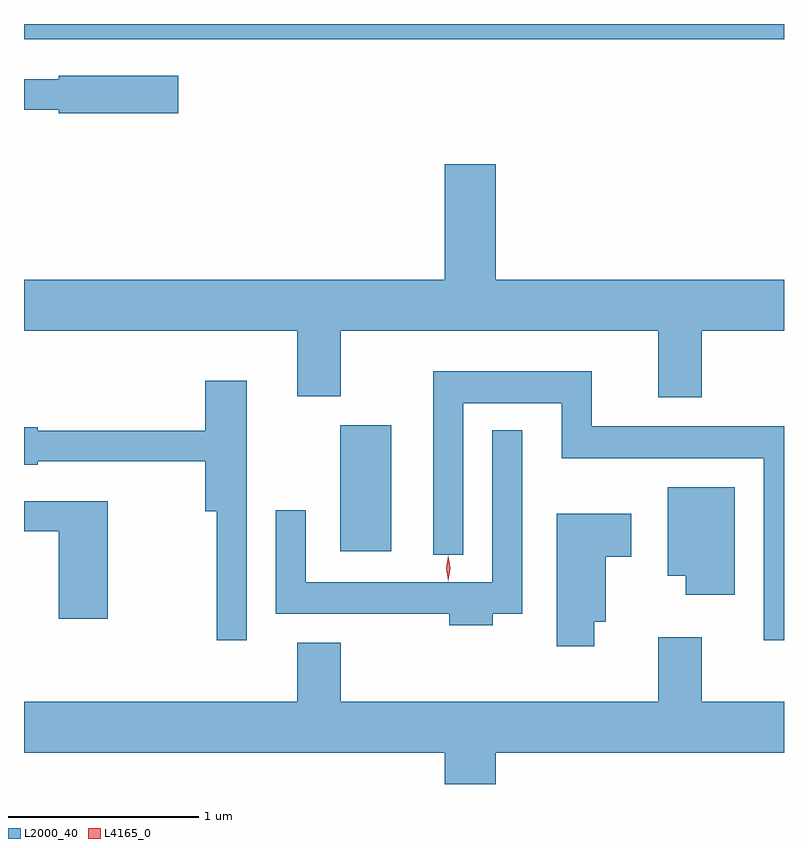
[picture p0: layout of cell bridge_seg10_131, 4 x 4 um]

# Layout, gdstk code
import gdstk
lib = gdstk.Library(unit=1e-6, precision=1e-09)
def R(c, l, rs):  # rectangles x0, y0, x1, y1
    for r in rs: c.add(gdstk.rectangle(r[:2], r[2:], *l))
def P(c, l, *ps):  # polygons
    for p in ps: c.add(gdstk.Polygon(p, *l))
L2000_40 = (2000, 40)
L4165_0 = (4165, 0)

bridge_seg10_131 = lib.new_cell('bridge_seg10_131')
R(bridge_seg10_131, L2000_40, [(1633.106,2099.436,1633.374,2100.099), (1631.442,2102.131,1635.442,2102.211)])
P(bridge_seg10_131, L2000_40, [(1632.254,2101.939),(1631.626,2101.939),(1631.626,2101.919),(1631.442,2101.919),(1631.442,2101.761),(1631.626,2101.761),(1631.626,2101.741),(1632.254,2101.741)],
  [(1635.009,2100.596),(1635.442,2100.596),(1635.442,2100.864),(1633.924,2100.864),(1633.924,2101.474),(1633.656,2101.474),(1633.656,2100.864),(1631.442,2100.864),(1631.442,2100.596),(1632.881,2100.596),(1632.881,2100.251),(1633.109,2100.251),(1633.109,2100.596),(1634.781,2100.596),(1634.781,2100.246),(1635.009,2100.246)],
  [(1635.442,2100.094),(1634.429,2100.094),(1634.429,2100.384),(1633.596,2100.384),(1633.596,2099.418),(1633.754,2099.418),(1633.754,2100.216),(1634.271,2100.216),(1634.271,2099.926),(1635.336,2099.926),(1635.336,2098.968),(1635.442,2098.968)],
  [(1632.614,2100.334),(1632.396,2100.334),(1632.396,2100.069),(1631.514,2100.069),(1631.514,2100.089),(1631.442,2100.089),(1631.442,2099.891),(1631.514,2099.891),(1631.514,2099.911),(1632.396,2099.911),(1632.396,2099.646),(1632.456,2099.646),(1632.456,2098.968),(1632.614,2098.968)],
  [(1633.909,2099.106),(1634.064,2099.106),(1634.064,2100.073),(1633.906,2100.073),(1633.906,2099.274),(1632.924,2099.274),(1632.924,2099.653),(1632.766,2099.653),(1632.766,2099.106),(1633.681,2099.106),(1633.681,2099.046),(1633.909,2099.046)],
  [(1635.184,2099.774),(1634.831,2099.774),(1634.831,2099.306),(1634.926,2099.306),(1634.926,2099.206),(1635.184,2099.206)],
  [(1631.884,2099.699),(1631.442,2099.699),(1631.442,2099.541),(1631.626,2099.541),(1631.626,2099.081),(1631.884,2099.081)],
  [(1634.444,2099.066),(1634.504,2099.066),(1634.504,2099.406),(1634.639,2099.406),(1634.639,2099.634),(1634.246,2099.634),(1634.246,2098.936),(1634.444,2098.936)],
  [(1633.924,2098.376),(1635.442,2098.376),(1635.442,2098.644),(1635.009,2098.644),(1635.009,2098.984),(1634.781,2098.984),(1634.781,2098.644),(1633.109,2098.644),(1633.109,2098.954),(1632.881,2098.954),(1632.881,2098.644),(1631.442,2098.644),(1631.442,2098.376),(1633.656,2098.376),(1633.656,2098.211),(1633.924,2098.211)])
P(bridge_seg10_131, L4165_0, [(1633.675,2099.279),(1633.674,2099.28),(1633.665,2099.346),(1633.674,2099.412),(1633.675,2099.413),(1633.675,2099.412),(1633.685,2099.346),(1633.675,2099.28)])

lib.write_gds('bridge_seg10_131.gds')
